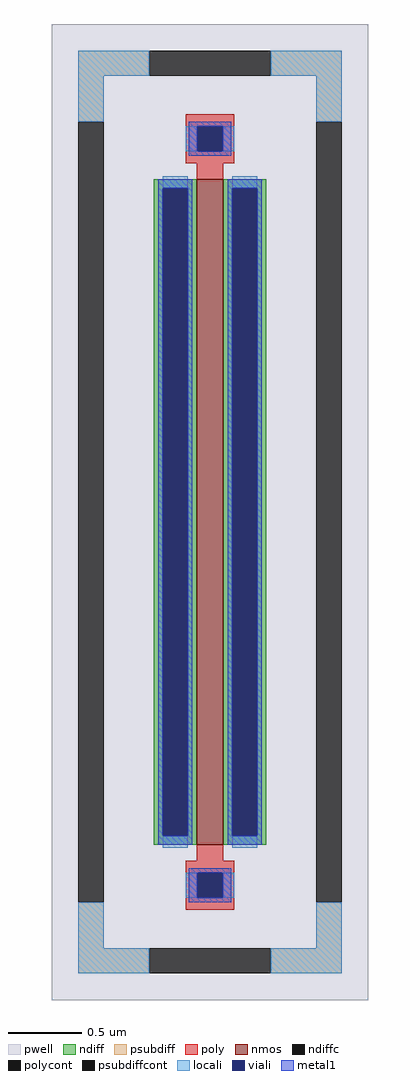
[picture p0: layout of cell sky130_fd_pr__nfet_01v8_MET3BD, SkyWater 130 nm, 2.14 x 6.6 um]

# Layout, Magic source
magic
tech sky130A
magscale 1 2
<< pwell >>
rect -214 -660 214 660
<< nmos >>
rect -18 -450 18 450
<< ndiff >>
rect -76 438 -18 450
rect -76 -438 -64 438
rect -30 -438 -18 438
rect -76 -450 -18 -438
rect 18 438 76 450
rect 18 -438 30 438
rect 64 -438 76 438
rect 18 -450 76 -438
<< ndiffc >>
rect -64 -438 -30 438
rect 30 -438 64 438
<< psubdiff >>
rect -178 590 -82 624
rect 82 590 178 624
rect -178 528 -144 590
rect 144 528 178 590
rect -178 -590 -144 -528
rect 144 -590 178 -528
rect -178 -624 -82 -590
rect 82 -624 178 -590
<< psubdiffcont >>
rect -82 590 82 624
rect -178 -528 -144 528
rect 144 -528 178 528
rect -82 -624 82 -590
<< poly >>
rect -33 522 33 538
rect -33 488 -17 522
rect 17 488 33 522
rect -33 472 33 488
rect -18 450 18 472
rect -18 -472 18 -450
rect -33 -488 33 -472
rect -33 -522 -17 -488
rect 17 -522 33 -488
rect -33 -538 33 -522
<< polycont >>
rect -17 488 17 522
rect -17 -522 17 -488
<< locali >>
rect -178 590 -82 624
rect 82 590 178 624
rect -178 528 -144 590
rect 144 528 178 590
rect -33 488 -17 522
rect 17 488 33 522
rect -64 438 -30 454
rect -64 -454 -30 -438
rect 30 438 64 454
rect 30 -454 64 -438
rect -33 -522 -17 -488
rect 17 -522 33 -488
rect -178 -590 -144 -528
rect 144 -590 178 -528
rect -178 -624 -82 -590
rect 82 -624 178 -590
<< viali >>
rect -17 488 17 522
rect -64 -438 -30 438
rect 30 -438 64 438
rect -17 -522 17 -488
<< metal1 >>
rect -29 522 29 528
rect -29 488 -17 522
rect 17 488 29 522
rect -29 482 29 488
rect -70 438 -24 450
rect -70 -438 -64 438
rect -30 -438 -24 438
rect -70 -450 -24 -438
rect 24 438 70 450
rect 24 -438 30 438
rect 64 -438 70 438
rect 24 -450 70 -438
rect -29 -488 29 -482
rect -29 -522 -17 -488
rect 17 -522 29 -488
rect -29 -528 29 -522
<< properties >>
string FIXED_BBOX -161 -607 161 607
string gencell sky130_fd_pr__nfet_01v8
string library sky130
string parameters w 4.5 l 0.18 m 1 nf 1 diffcov 100 polycov 100 guard 1 glc 1 grc 1 gtc 1 gbc 1 tbcov 100 rlcov 100 topc 1 botc 1 poverlap 0 doverlap 1 lmin 0.15 wmin 0.42 compatible {sky130_fd_pr__nfet_01v8 sky130_fd_pr__nfet_01v8_lvt  sky130_fd_bs_flash__special_sonosfet_star  sky130_fd_pr__nfet_g5v0d10v5 sky130_fd_pr__nfet_05v0_nvt  sky130_fd_pr__nfet_03v3_nvt} full_metal 1 viasrc 100 viadrn 100 viagate 100 viagb 0 viagr 0 viagl 0 viagt 0
<< end >>
